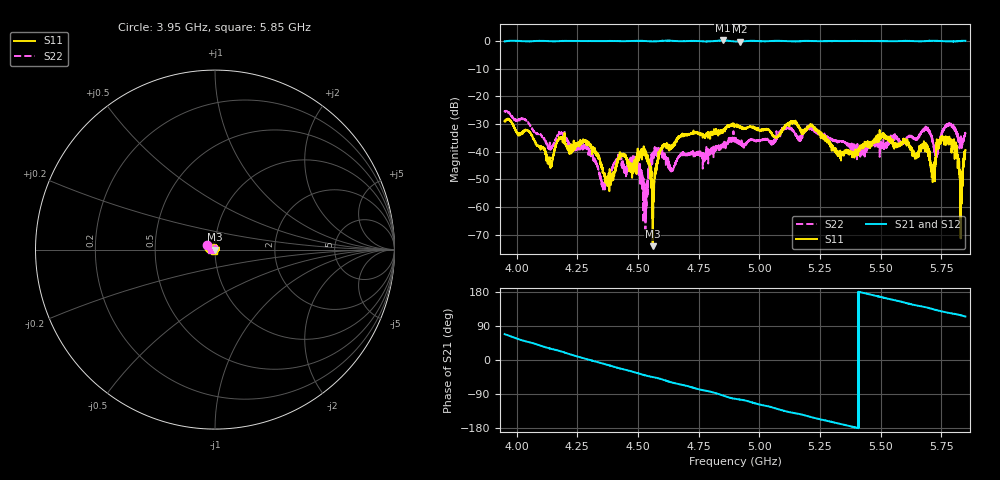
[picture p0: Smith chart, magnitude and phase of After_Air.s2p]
# GHZ S RI R 50.000000000000
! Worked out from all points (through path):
!   4501 points, 3.95 GHz to 5.85 GHz, reference 50 ohm
!   highest |S21| = 0.14 dB at 4.851 GHz (marker M1); lowest = -0.3 dB at 4.919 GHz (marker M2)
!   group delay of S21, straight-line fit = 452 ps
!   lowest |S11| = -74.2 dB at 4.561 GHz (marker M3), VSWR 1.00, Z = 50 - j0.0157 ohm
!   |S11| at or under -10 dB: start of sweep to end of sweep
!   |S22| runs from -68.2 to -25.2 dB; largest |S21 - S12| = 0.037
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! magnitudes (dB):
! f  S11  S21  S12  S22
! 3.95 GHz  -28.9  -0.1  -0.2  -25.6
! 4.137 GHz  -44.6  -0.1  -0.1  -39.0
! 4.177 GHz  -35.5  -0.1  -0.1  -33.5
! 4.267 GHz  -36.5  -0.1  -0.1  -38.3
! 4.377 GHz  -49.2  0.0  -0.1  -50.2
! 4.43 GHz  -40.7  -0.1  -0.1  -42.6
! 4.485 GHz  -47.0  0.0  0.0  -44.5
! 4.529 GHz  -39.8  -0.1  0.0  -60.4
! 4.561 GHz  -74.2  -0.2  -0.2  -41.7
! 4.584 GHz  -42.6  -0.1  -0.2  -39.9
! 4.639 GHz  -38.0  0.0  0.0  -46.5
! 4.851 GHz  -33.2  0.1  0.1  -37.0
! 4.9 GHz  -30.4  -0.2  -0.1  -35.7
! 4.919 GHz  -30.7  -0.3  -0.2  -36.7
! 5.217 GHz  -30.7  -0.1  0.0  -31.7
! 5.332 GHz  -40.7  -0.1  -0.1  -36.4
! 5.534 GHz  -35.0  -0.1  -0.1  -36.4
! 5.685 GHz  -37.5  -0.1  -0.1  -31.4
! 5.715 GHz  -47.2  0.0  0.0  -36.9
! 5.782 GHz  -35.9  -0.2  -0.3  -30.4
! 5.831 GHz  -47.0  -0.1  0.0  -34.5
! 5.85 GHz  -39.4  0.0  0.1  -33.5
